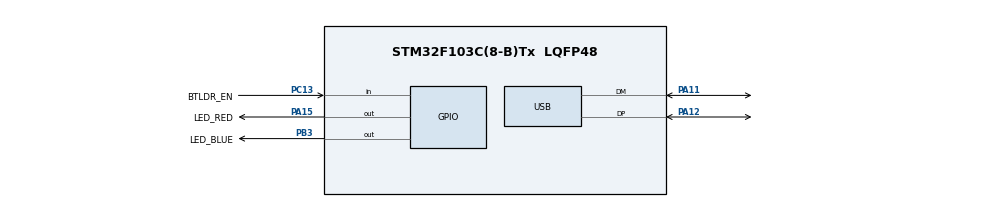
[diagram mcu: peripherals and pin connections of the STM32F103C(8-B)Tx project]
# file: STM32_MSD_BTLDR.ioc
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Mcu.Family=STM32F1
Mcu.Name=STM32F103C(8-B)Tx
Mcu.Package=LQFP48
NVIC.PriorityGroup=NVIC_PRIORITYGROUP_4
NVIC.USB_LP_CAN1_RX0_IRQn=true\:0\:0\:false\:false\:true\:false\:true\:true
PA11.Mode=Device
PA11.Signal=USB_DM
PA12.Mode=Device
PA12.Signal=USB_DP
PA13.Mode=Serial_Wire
PA13.Signal=SYS_JTMS-SWDIO
PA14.Mode=Serial_Wire
PA14.Signal=SYS_JTCK-SWCLK
PA15.GPIO_Label=LED_RED
PA15.Signal=GPIO_Output
PB3.GPIO_Label=LED_BLUE
PB3.Signal=GPIO_Output
PC13-TAMPER-RTC.GPIO_Label=BTLDR_EN
PC13-TAMPER-RTC.Signal=GPIO_Input
PD0-OSC_IN.Mode=HSE-External-Oscillator
PD0-OSC_IN.Signal=RCC_OSC_IN
PD1-OSC_OUT.Mode=HSE-External-Oscillator
PD1-OSC_OUT.Signal=RCC_OSC_OUT
ProjectManager.HeapSize=0x200
ProjectManager.StackSize=0x400
ProjectManager.TargetToolchain=MDK-ARM V5
RCC.AHBFreq_Value=72000000
RCC.APB1CLKDivider=RCC_HCLK_DIV2
RCC.APB1Freq_Value=36000000
RCC.APB1TimFreq_Value=72000000
RCC.APB2CLKDivider=RCC_HCLK_DIV2
RCC.APB2Freq_Value=36000000
RCC.APB2TimFreq_Value=72000000
RCC.HCLKFreq_Value=72000000
RCC.PLLMUL=RCC_PLL_MUL9
RCC.SYSCLKFreq_VALUE=72000000
RCC.SYSCLKSource=RCC_SYSCLKSOURCE_PLLCLK
RCC.USBFreq_Value=48000000
RCC.USBPrescaler=RCC_USBCLKSOURCE_PLL_DIV1_5
USB_DEVICE.CLASS_NAME_FS=MSC
USB_DEVICE.VirtualMode=Msc
USB_DEVICE.VirtualModeFS=Msc_FS
VP_USB_DEVICE_VS_USB_DEVICE_MSC_FS.Mode=MSC_FS
board=custom

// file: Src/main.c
/*************************************************************************************
# Released under MIT License

Copyright (c) 2020 SF Yip (yipxxx@gmail.com)

Permission is hereby granted, free of charge, to any person obtaining a copy of this software and associated documentation files (the "Software"), to deal in the Software without restriction, including without limitation the rights to use, copy, modify, merge, publish, distribute, sublicense, and/or sell copies of the Software, and to permit persons to whom the Software is furnished to do so, subject to the following conditions:

The above copyright notice and this permission notice shall be included in all copies or substantial portions of the Software.

THE SOFTWARE IS PROVIDED "AS IS", WITHOUT WARRANTY OF ANY KIND, EXPRESS OR IMPLIED, INCLUDING BUT NOT LIMITED TO THE WARRANTIES OF MERCHANTABILITY, FITNESS FOR A PARTICULAR PURPOSE AND NONINFRINGEMENT. IN NO EVENT SHALL THE AUTHORS OR COPYRIGHT HOLDERS BE LIABLE FOR ANY CLAIM, DAMAGES OR OTHER LIABILITY, WHETHER IN AN ACTION OF CONTRACT, TORT OR OTHERWISE, ARISING FROM, OUT OF OR IN CONNECTION WITH THE SOFTWARE OR THE USE OR OTHER DEALINGS IN THE SOFTWARE.
**************************************************************************************/

/* USER CODE BEGIN Header */
/**
  ******************************************************************************
  * @file           : main.c
  * @brief          : Main program body
  ******************************************************************************
  * @attention
  *
  * <h2><center>&copy; Copyright (c) 2020 STMicroelectronics.
  * All rights reserved.</center></h2>
  *
  * This software component is licensed by ST under Ultimate Liberty license
  * SLA0044, the "License"; You may not use this file except in compliance with
  * the License. You may obtain a copy of the License at:
  *                             www.st.com/SLA0044
  *
  ******************************************************************************
  */
/* USER CODE END Header */
#include "main.h"
#include "usb_device.h"

/* USER CODE BEGIN Includes */
#include <stdint.h>
#include <stdbool.h>
#include "btldr_config.h"
#include "crypt.h"
#include "ihex_parser.h"
#include "crc.h"

/* USER CODE END Includes */

void SystemClock_Config(void);
static void MX_GPIO_Init(void);

/* USER CODE BEGIN 0 */
#if (BTLDR_ACT_NoAppExist > 0u)
bool is_appcode_exist(void)
{
  uint32_t *mem = (uint32_t*)APP_ADDR;

  if ((mem[0] == 0x00000000 || mem[0] == 0xFFFFFFFF) && \
      (mem[1] == 0x00000000 || mem[1] == 0xFFFFFFFF) && \
      (mem[2] == 0x00000000 || mem[2] == 0xFFFFFFFF) && \
      (mem[3] == 0x00000000 || mem[3] == 0xFFFFFFFF))
  {
    return false;
  }
  else
  {
    return true;
  }
}
#endif

#if (BTLDR_ACT_CksNotVld > 0u)
bool app_cks_valid(void)
{
	uint32_t app_crc32 = 0;

	/* calculate CRC32 checksum from start of main application until CRC32 location */
	app_crc32 = crc32_calculate((const uint8_t *)APP_ADDR, (CRC_ADDR-APP_ADDR));

	/* compare self calculated CRC32 with CRC32 stored in flash */
	return (app_crc32 == *((uint32_t*)(CRC_ADDR)));
}
#endif

#if (BTLDR_ACT_ButtonPress > 0u)
bool is_button_down(void)
{
    return (!LL_GPIO_IsInputPinSet(BTLDR_EN_GPIO_Port, BTLDR_EN_Pin) );
}
#endif

#if (BTLDR_ACT_BootkeyDet > 0u)

volatile __attribute__((section("._bootkey_section.btldr_act_req_key"))) uint32_t btldr_act_req_key;

bool bootkey_detected(void){
    return(btldr_act_req_key == BOOTKEY);
}
#endif

uint32_t volatile updateTimeStamp = 0;

void control_led_states(void)
{
#if defined(LED_RED_Pin) || defined(LED_BLUE_Pin)
    uint32_t tick = HAL_GetTick();

    if (updateTimeStamp & 1)
    {
        #if defined(LED_RED_Pin)
                LL_GPIO_SetOutputPin(LED_RED_GPIO_Port, LED_RED_Pin);
        #endif
        #if defined(LED_BLUE_Pin)
                LL_GPIO_SetOutputPin(LED_BLUE_GPIO_Port, LED_BLUE_Pin);
        #endif
        uint32_t diff = tick - (updateTimeStamp & ~1);
        if (diff > 500) {
            updateTimeStamp = 0;
        }
    }
    else if ((tick % 100) >= 50)
    {
#if defined(LED_RED_Pin)
        LL_GPIO_SetOutputPin(LED_RED_GPIO_Port, LED_RED_Pin);
#endif
#if defined(LED_BLUE_Pin)
        LL_GPIO_SetOutputPin(LED_BLUE_GPIO_Port, LED_BLUE_Pin);
#endif
    }
    else
    {
#if defined(LED_RED_Pin)
        LL_GPIO_ResetOutputPin(LED_RED_GPIO_Port, LED_RED_Pin);
#endif
#if defined(LED_BLUE_Pin)
        LL_GPIO_ResetOutputPin(LED_BLUE_GPIO_Port, LED_BLUE_Pin);
#endif
    }
#endif
}

extern PCD_HandleTypeDef hpcd_USB_FS;

void SystemReset(void){
    LL_mDelay(500);

    HAL_PCD_Stop(&hpcd_USB_FS);

    /* Pull USB D+ PIN to GND so USB Host detects device disconnect */
    LL_GPIO_SetPinMode(GPIOA,LL_GPIO_PIN_12, LL_GPIO_MODE_OUTPUT);
    LL_GPIO_SetPinSpeed(GPIOA, LL_GPIO_PIN_12, LL_GPIO_SPEED_FREQ_LOW);
    LL_GPIO_SetPinOutputType(GPIOA,LL_GPIO_PIN_12, LL_GPIO_OUTPUT_PUSHPULL);
    LL_GPIO_ResetOutputPin(GPIOA, LL_GPIO_PIN_12);

    LL_mDelay(1000);

    NVIC_SystemReset();
}

/* USER CODE END 0 */

int main(void)
{
  /* USER CODE BEGIN 1 */
  static uint32_t jump_addr;

  /* USER CODE END 1 */

  /* MCU Configuration--------------------------------------------------------*/

  /* Reset of all peripherals, Initializes the Flash interface and the Systick. */
  HAL_Init();

  /* Configure the system clock */
  SystemClock_Config();

  /* Initialize all configured peripherals */
  MX_GPIO_Init();

  /* USER CODE BEGIN 2 */

 if(	/* Check for configured activation options */
    #if (BTLDR_ACT_NoAppExist > 0u)
      !is_appcode_exist()
    #endif
    #if (BTLDR_ACT_ButtonPress > 0u)
      || is_button_down()
    #endif
    #if (BTLDR_ACT_CksNotVld > 0u)
      || !app_cks_valid()
    #endif
    #if (BTLDR_ACT_BootkeyDet > 0u)
      || bootkey_detected()
    #endif
	 )
  {
#if(CONFIG_SUPPORT_CRYPT_MODE > 0u)
    crypt_init();
#endif
    MX_USB_DEVICE_Init();
    while(1)
    {
        control_led_states();
#if (CONFIG_SOFT_RESET_AFTER_IHEX_EOF > 0u)
      if(ihex_is_eof()) {
        #if (BTLDR_ACT_BootkeyDet > 0u)
         btldr_act_req_key = 0;
        #endif
         SystemReset();
      }
#endif
    }
  }
  else
  {
    // Jump to the app code
	jump_addr = *((__IO uint32_t*)(APP_ADDR+4u));
	HAL_DeInit();

	// Disable all interrupts
	NVIC->ICER[0] = 0xFFFFFFFF;
	NVIC->ICER[1] = 0xFFFFFFFF;
	NVIC->ICER[2] = 0xFFFFFFFF;

	NVIC->ICPR[0] = 0xFFFFFFFF;
	NVIC->ICPR[1] = 0xFFFFFFFF;
	NVIC->ICPR[2] = 0xFFFFFFFF;

	/* deactivate SysTick */
	SysTick->CTRL = 0;

	/* Change the main stack pointer. */
	SCB->VTOR = APP_ADDR;
	__set_MSP((*(__IO uint32_t*)APP_ADDR));

	((void (*) (void)) (jump_addr)) ();
  }

  /* USER CODE END 2 */

  /* Infinite loop */
  while (1)
  {

  }
}

void SystemClock_Config(void)
{
  LL_FLASH_SetLatency(LL_FLASH_LATENCY_2);
  while(LL_FLASH_GetLatency()!= LL_FLASH_LATENCY_2)
  {
  }
  LL_RCC_HSE_Enable();

   /* Wait till HSE is ready */
  while(LL_RCC_HSE_IsReady() != 1)
  {

  }
  LL_RCC_PLL_ConfigDomain_SYS(LL_RCC_PLLSOURCE_HSE_DIV_1, LL_RCC_PLL_MUL_9);
  LL_RCC_PLL_Enable();

   /* Wait till PLL is ready */
  while(LL_RCC_PLL_IsReady() != 1)
  {

  }
  LL_RCC_SetAHBPrescaler(LL_RCC_SYSCLK_DIV_1);
  LL_RCC_SetAPB1Prescaler(LL_RCC_APB1_DIV_2);
  LL_RCC_SetAPB2Prescaler(LL_RCC_APB2_DIV_2);
  LL_RCC_SetSysClkSource(LL_RCC_SYS_CLKSOURCE_PLL);

   /* Wait till System clock is ready */
  while(LL_RCC_GetSysClkSource() != LL_RCC_SYS_CLKSOURCE_STATUS_PLL)
  {

  }
  LL_SetSystemCoreClock(72000000);

   /* Update the time base */
  if (HAL_InitTick (TICK_INT_PRIORITY) != HAL_OK)
  {
    Error_Handler();
  }
  LL_RCC_SetUSBClockSource(LL_RCC_USB_CLKSOURCE_PLL_DIV_1_5);
}

static void MX_GPIO_Init(void)
{
  LL_GPIO_InitTypeDef GPIO_InitStruct = {0};

  /* GPIO Ports Clock Enable */
  LL_APB2_GRP1_EnableClock(LL_APB2_GRP1_PERIPH_GPIOA);
  LL_APB2_GRP1_EnableClock(LL_APB2_GRP1_PERIPH_GPIOB);
  LL_APB2_GRP1_EnableClock(LL_APB2_GRP1_PERIPH_GPIOC);

  /**/
  GPIO_InitStruct.Pin = BTLDR_EN_Pin;
  GPIO_InitStruct.Mode = LL_GPIO_MODE_INPUT;
  GPIO_InitStruct.Pull = LL_GPIO_PULL_UP;
  GPIO_InitStruct.OutputType = 0;
  LL_GPIO_Init(BTLDR_EN_GPIO_Port, &GPIO_InitStruct);

#ifdef LED_RED_Pin
  GPIO_InitStruct.Pin = LED_RED_Pin;
  GPIO_InitStruct.Mode = LL_GPIO_MODE_OUTPUT;
  GPIO_InitStruct.Pull = 0;
  GPIO_InitStruct.OutputType = LL_GPIO_OUTPUT_PUSHPULL;
  GPIO_InitStruct.Speed = LL_GPIO_SPEED_FREQ_HIGH;
  LL_GPIO_Init(LED_RED_GPIO_Port, &GPIO_InitStruct);
  LL_GPIO_ResetOutputPin(LED_RED_GPIO_Port, LED_RED_Pin);
#endif

#ifdef LED_BLUE_Pin
  GPIO_InitStruct.Pin = LED_BLUE_Pin;
  GPIO_InitStruct.Mode = LL_GPIO_MODE_OUTPUT;
  GPIO_InitStruct.Pull = 0;
  GPIO_InitStruct.OutputType = LL_GPIO_OUTPUT_PUSHPULL;
  GPIO_InitStruct.Speed = LL_GPIO_SPEED_FREQ_HIGH;
  LL_GPIO_Init(LED_BLUE_GPIO_Port, &GPIO_InitStruct);
  LL_GPIO_ResetOutputPin(LED_BLUE_GPIO_Port, LED_BLUE_Pin);
#endif
}

void Error_Handler(void)
{
}

/************************ (C) COPYRIGHT STMicroelectronics *****END OF FILE****/
